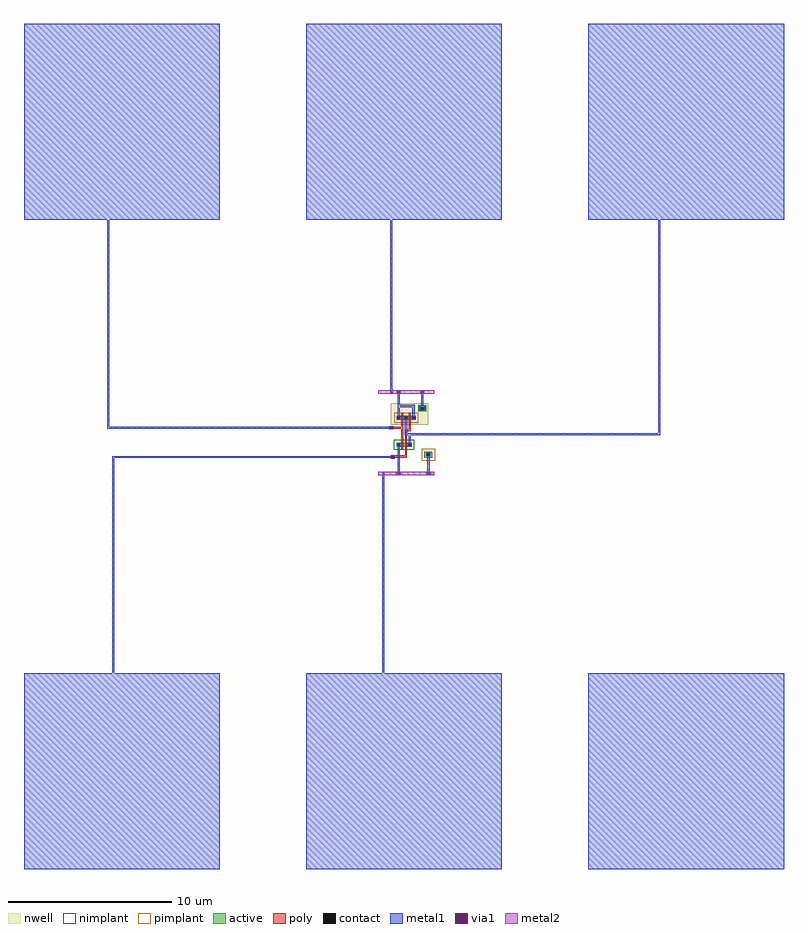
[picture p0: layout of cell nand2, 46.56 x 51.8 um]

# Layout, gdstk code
from math import pi, radians
import gdstk
lib = gdstk.Library(unit=1e-6, precision=5e-10)
def R(c, l, rs):  # rectangles x0, y0, x1, y1
    for r in rs: c.add(gdstk.rectangle(r[:2], r[2:], *l))
def A(c, l, x, y, w, h, nx, ny, dx, dy):  # array of equal rectangles
    R(c, l, [(x+i*dx, y+j*dy, x+i*dx+w, y+j*dy+h) for i in range(nx) for j in range(ny)])
active = (1, 0)
nwell = (2, 0)
poly = (3, 0)
nimplant = (4, 0)
pimplant = (5, 0)
contact = (6, 0)
metal1 = (7, 0)
via1 = (8, 0)
metal2 = (9, 0)

m1_pov_0 = lib.new_cell('M1_POv_0')
R(m1_pov_0, poly, [(-0.1,-0.12,0.1,0.12)])
R(m1_pov_0, contact, [(-0.06,-0.06,0.06,0.06)])
R(m1_pov_0, metal1, [(-0.06,-0.12,0.06,0.12)])

m2_m1v_1 = lib.new_cell('M2_M1v_1')
R(m2_m1v_1, metal1, [(-0.075,-0.13,0.075,0.13)])
R(m2_m1v_1, via1, [(-0.07,-0.07,0.07,0.07)])
R(m2_m1v_1, metal2, [(-0.075,-0.13,0.075,0.13)])

m2_m1v_2 = lib.new_cell('M2_M1v_2')
R(m2_m1v_2, metal1, [(-0.075,-0.13,0.075,0.13)])
R(m2_m1v_2, via1, [(-0.07,-0.07,0.07,0.07)])
R(m2_m1v_2, metal2, [(-0.13,-0.075,0.13,0.075)])

nand2 = lib.new_cell('nand2')
R(nand2, active, [(40.875,31.99,41.345,32.38), (39.165,32.68,40.085,32.92), (39.165,34.32,40.325,34.56), (40.545,34.865,40.935,35.2)])
R(nand2, nwell, [(38.8,34.01,41.1,35.345)])
R(nand2, poly, [(38.82,31.995,39.785,32.15), (39.685,31.995,39.785,33.62), (39.465,32.5,39.565,33.16), (39.465,33.14,39.565,34.74), (39.685,33.615,40.025,33.72), (39.925,33.615,40.025,34.74), (38.755,33.765,39.56,33.89)])
R(nand2, nimplant, [(39.005,32.5,40.245,33.1), (40.505,34.835,40.97,35.225)])
R(nand2, pimplant, [(40.705,31.82,41.53,32.56), (39.015,34.14,40.505,34.74)])
A(nand2, contact, 39.225, 34.38, 0.12, 0.12, 3, 1, 0.46, 0)
R(nand2, contact, [(41.05,32.135,41.17,32.255), (39.225,32.74,39.345,32.86), (39.905,32.74,40.025,32.86), (40.675,34.98,40.795,35.1)])
A(nand2, metal1, 16.34, 6.785, 12, 12, 3, 2, 17.28, 39.805)
A(nand2, metal1, 39.165, 34.32, 0.24, 0.24, 3, 1, 0.46, 0)
R(nand2, metal1, [(19.475,11.87,23.43,15.275), (36.58,11.87,39.245,15.18), (39.225,30.965,39.355,32.86), (41.055,30.965,41.195,32.255), (38.82,31.985,39.06,32.11), (38.9,32,39,32.11), (40.99,32.075,41.23,32.315), (39.165,32.68,39.405,32.92), (39.845,32.68,40.085,32.92), (39.905,32.74,40.025,33.5), (39.68,33.38,40.025,33.5), (39.68,33.41,39.805,34.505), (38.76,33.765,38.915,33.885), (40.14,34.375,40.28,35.245), (39.225,34.38,39.355,36.08), (40.615,34.92,40.855,35.16), (40.675,34.99,40.8,36.09), (39.23,35.1,40.28,35.245), (35.935,48.375,38.97,51.315), (53.22,48.925,55.885,51.405), (19.2,49.295,22.235,52.235)])
R(nand2, metal2, [(38.05,30.92,41.465,31.145), (38.05,35.915,41.465,36.14)])
nand2.add(gdstk.FlexPath([(21.895,16.27),(22.07,16.27)], 0.12, ends=(0.06, 0), simple_path=True, layer=7, datatype=0))  # metal1
nand2.add(gdstk.FlexPath([(38.94,32.045),(21.81,32.045)], 0.12, ends=(0, 0.06), simple_path=True, layer=7, datatype=0))  # metal1
nand2.add(gdstk.FlexPath([(21.81,32.045),(21.81,16.88)], 0.12, ends="extended", simple_path=True, layer=7, datatype=0))  # metal1
nand2.add(gdstk.FlexPath([(21.81,16.88),(21.895,16.88)], 0.12, ends="extended", simple_path=True, layer=7, datatype=0))  # metal1
nand2.add(gdstk.FlexPath([(21.515,33.83),(21.515,46.9)], 0.12, ends=(0.06, 0), simple_path=True, layer=7, datatype=0))  # metal1
nand2.add(gdstk.FlexPath([(55.27,33.44),(55.27,46.89)], 0.12, ends=(0.06, 0), simple_path=True, layer=7, datatype=0))  # metal1
nand2.add(gdstk.FlexPath([(39.98,33.44),(55.27,33.44)], 0.12, ends=(0, 0.06), simple_path=True, layer=7, datatype=0))  # metal1
nand2.add(gdstk.FlexPath([(38.35,18.475),(38.35,31.1)], 0.12, ends="flush", simple_path=True, layer=7, datatype=0))  # metal1
nand2.add(gdstk.FlexPath([(38.845,46.795),(38.845,35.955)], 0.12, ends="flush", simple_path=True, layer=7, datatype=0))  # metal1
nand2.add(gdstk.FlexPath([(21.895,16.88),(21.895,16.27)], 0.12, ends="extended", simple_path=True, layer=7, datatype=0))  # metal1
nand2.add(gdstk.FlexPath([(38.835,33.83),(21.515,33.83)], 0.12, ends=(0, 0.06), simple_path=True, layer=7, datatype=0))  # metal1
nand2.add(gdstk.Reference(m1_pov_0, (38.84,33.83), rotation=pi/2))
nand2.add(gdstk.Reference(m1_pov_0, (38.94,32.05), rotation=pi/2))
nand2.add(gdstk.Reference(m2_m1v_1, (40.74,36.035), rotation=pi/2))
nand2.add(gdstk.Reference(m2_m1v_1, (39.29,31.04), rotation=pi/2))
nand2.add(gdstk.Reference(m2_m1v_1, (39.295,36.02), rotation=pi/2))
nand2.add(gdstk.Reference(m2_m1v_1, (41.12,31.04), rotation=pi/2))
nand2.add(gdstk.Reference(m2_m1v_2, (38.845,36.05)))
nand2.add(gdstk.Reference(m2_m1v_2, (38.35,31.01)))

lib.write_gds('nand2.gds')
